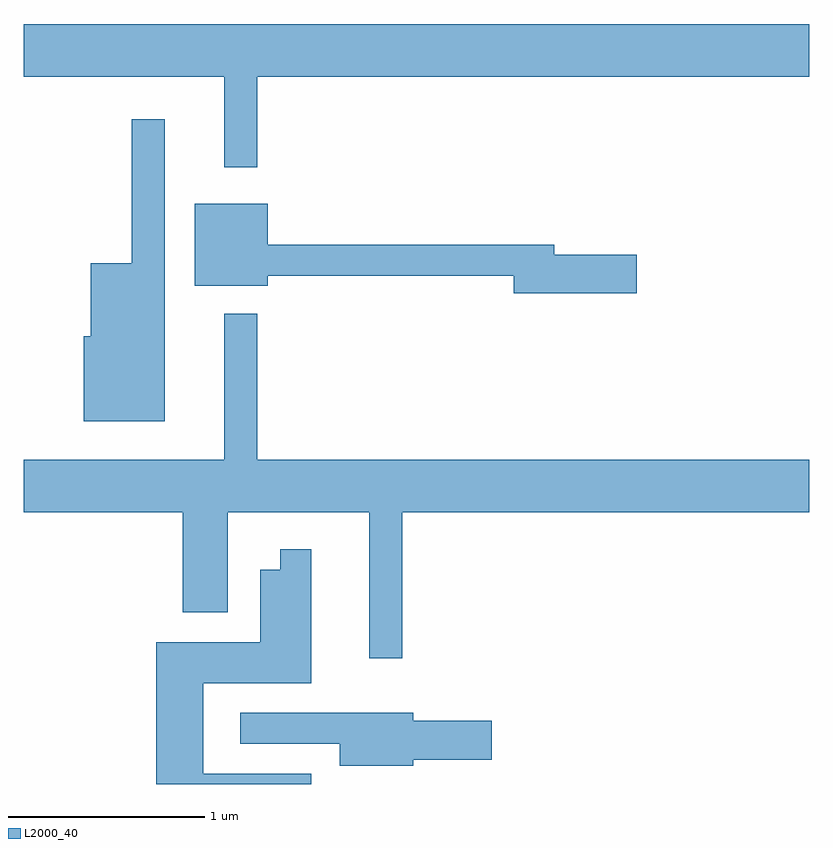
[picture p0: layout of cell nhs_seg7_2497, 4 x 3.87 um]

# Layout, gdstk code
import gdstk
lib = gdstk.Library(unit=1e-6, precision=1e-09)
def P(c, l, *ps):  # polygons
    for p in ps: c.add(gdstk.Polygon(p, *l))
L2000_40 = (2000, 40)

nhs_seg7_2497 = lib.new_cell('nhs_seg7_2497')
P(nhs_seg7_2497, L2000_40, [(262.799,1729.856),(265.611,1729.856),(265.611,1730.124),(261.611,1730.124),(261.611,1729.856),(262.631,1729.856),(262.631,1729.393),(262.799,1729.393)],
  [(262.329,1729.638),(262.161,1729.638),(262.161,1728.904),(261.951,1728.904),(261.951,1728.534),(261.916,1728.534),(261.916,1728.101),(262.329,1728.101)],
  [(264.734,1728.949),(264.314,1728.949),(264.314,1728.999),(262.854,1728.999),(262.854,1729.209),(262.481,1729.209),(262.481,1728.791),(262.854,1728.791),(262.854,1728.841),(264.106,1728.841),(264.106,1728.751),(264.734,1728.751)],
  [(263.539,1727.636),(265.611,1727.636),(265.611,1727.904),(262.799,1727.904),(262.799,1728.648),(262.631,1728.648),(262.631,1727.904),(261.611,1727.904),(261.611,1727.636),(262.421,1727.636),(262.421,1727.126),(262.649,1727.126),(262.649,1727.636),(263.371,1727.636),(263.371,1726.893),(263.539,1726.893)],
  [(263.074,1726.304),(262.524,1726.304),(262.524,1726.766),(263.074,1726.766),(263.074,1727.448),(262.916,1727.448),(262.916,1727.344),(262.816,1727.344),(262.816,1726.974),(262.286,1726.974),(262.286,1726.252),(263.074,1726.252)],
  [(263.594,1726.376),(263.994,1726.376),(263.994,1726.574),(263.594,1726.574),(263.594,1726.614),(262.713,1726.614),(262.713,1726.456),(263.221,1726.456),(263.221,1726.346),(263.594,1726.346)])

lib.write_gds('nhs_seg7_2497.gds')
